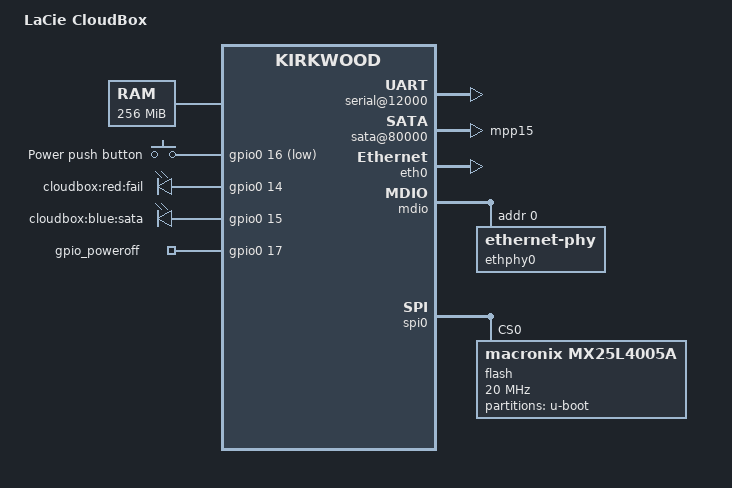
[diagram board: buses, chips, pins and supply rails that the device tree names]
/dts-v1/;

#include "kirkwood.dtsi"
#include "kirkwood-6281.dtsi"

/ {
	model = "LaCie CloudBox";
	compatible = "lacie,cloudbox", "marvell,kirkwood-88f6702", "marvell,kirkwood";

	memory {
		device_type = "memory";
		reg = <0x00000000 0x10000000>;
	};

	chosen {
		bootargs = "console=ttyS0,115200n8";
	};

	ocp@f1000000 {
		serial@12000 {
			pinctrl-0 = <&pmx_uart0>;
			pinctrl-names = "default";
			clock-frequency = <166666667>;
			status = "okay";
		};

		sata@80000 {
			pinctrl-0 = <&pmx_cloudbox_sata0>;
			pinctrl-names = "default";
			status = "okay";
			nr-ports = <1>;
		};
	};

	gpio_keys {
		compatible = "gpio-keys";
		#address-cells = <1>;
		#size-cells = <0>;

		button@1 {
			label = "Power push button";
			linux,code = <KEY_POWER>;
			gpios = <&gpio0 16 GPIO_ACTIVE_LOW>;
		};
	};

	gpio-leds {
		compatible = "gpio-leds";

		red-fail {
			label = "cloudbox:red:fail";
			gpios = <&gpio0 14 GPIO_ACTIVE_HIGH>;
		};
		blue-sata {
			label = "cloudbox:blue:sata";
			gpios = <&gpio0 15 GPIO_ACTIVE_HIGH>;
		};
	};

	gpio_poweroff {
		compatible = "gpio-poweroff";
		gpios = <&gpio0 17 GPIO_ACTIVE_HIGH>;
	};
};

&eth0 {
	status = "okay";
	ethernet-port@0 {
		phy-handle = <&ethphy0>;
	};
};

&mdio {
	status = "okay";

	ethphy0: ethernet-phy@0 {
		reg = <0>;
	};
};

&pinctrl {
	pmx_cloudbox_sata0: pmx-cloudbox-sata0 {
		marvell,pins = "mpp15";
		marvell,function = "sata0";
	};
};

&spi0 {
	pinctrl-0 = <&pmx_spi>;
	pinctrl-names = "default";
	status = "okay";

	flash@0 {
		#address-cells = <1>;
		#size-cells = <1>;
		compatible = "macronix,mx25l4005a";
		reg = <0>;
		spi-max-frequency = <20000000>;
		mode = <0>;

		partition@0 {
			reg = <0x0 0x80000>;
			label = "u-boot";
		};
	};
};
